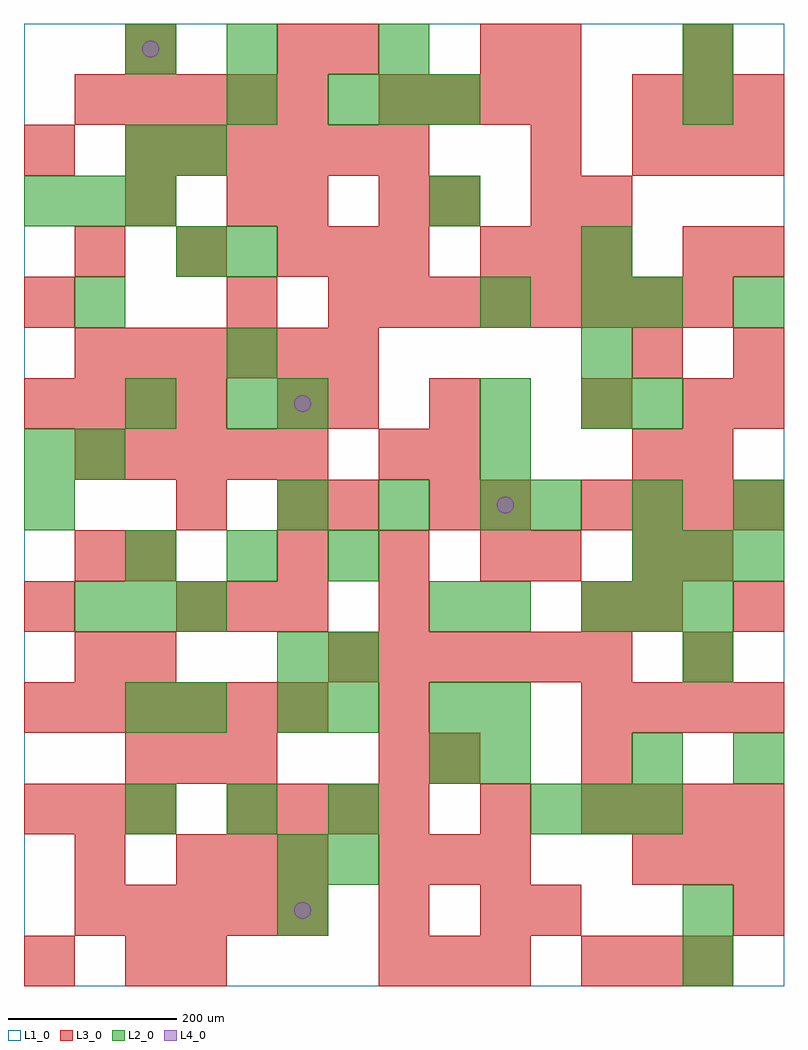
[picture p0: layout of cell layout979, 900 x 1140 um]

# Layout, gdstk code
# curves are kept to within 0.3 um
import gdstk
lib = gdstk.Library(unit=1e-6, precision=1e-09)
def R(c, l, rs):  # rectangles x0, y0, x1, y1
    for r in rs: c.add(gdstk.rectangle(r[:2], r[2:], *l))
def A(c, l, x, y, w, h, nx, ny, dx, dy):  # array of equal rectangles
    R(c, l, [(x+i*dx, y+j*dy, x+i*dx+w, y+j*dy+h) for i in range(nx) for j in range(ny)])
def P(c, l, *ps):  # polygons
    for p in ps: c.add(gdstk.Polygon(p, *l))
L1_0 = (1, 0)
L2_0 = (2, 0)
L3_0 = (3, 0)
L4_0 = (4, 0)

layout979 = lib.new_cell('layout979')
R(layout979, L1_0, [(0,0,900,1140)])
A(layout979, L2_0, 120, 180, 60, 60, 3, 2, 120, 300)
A(layout979, L2_0, 600, 180, 60, 60, 3, 1, 60, 0)
A(layout979, L2_0, 60, 420, 60, 60, 3, 1, 60, 0)
A(layout979, L2_0, 660, 420, 60, 60, 3, 1, 60, 0)
A(layout979, L2_0, 720, 480, 60, 60, 3, 1, 60, 0)
A(layout979, L2_0, 300, 540, 60, 60, 3, 1, 120, 0)
A(layout979, L2_0, 600, 540, 60, 60, 3, 1, 120, 0)
A(layout979, L2_0, 660, 660, 60, 60, 1, 4, 0, 60)
A(layout979, L2_0, 0, 900, 60, 60, 3, 1, 60, 0)
A(layout979, L2_0, 360, 1020, 60, 60, 3, 1, 60, 0)
R(layout979, L2_0, [(780,0,840,60), (300,60,360,120), (780,60,840,120), (300,120,360,180), (360,120,420,180), (480,240,540,300), (540,240,600,300), (720,240,780,300), (840,240,900,300), (120,300,180,360), (180,300,240,360), (300,300,360,360), (360,300,420,360), (480,300,540,360), (540,300,600,360), (300,360,360,420), (360,360,420,420), (780,360,840,420), (480,420,540,480), (540,420,600,480), (0,540,60,600), (0,600,60,660), (60,600,120,660), (540,600,600,660), (120,660,180,720), (240,660,300,720), (300,660,360,720), (540,660,600,720), (720,660,780,720), (240,720,300,780), (60,780,120,840), (540,780,600,840), (720,780,780,840), (840,780,900,840), (180,840,240,900), (240,840,300,900), (480,900,540,960), (120,960,180,1020), (180,960,240,1020), (240,1020,300,1080), (780,1020,840,1080), (120,1080,180,1140), (240,1080,300,1140), (420,1080,480,1140), (780,1080,840,1140)])
A(layout979, L3_0, 420, 0, 60, 60, 3, 2, 60, 120)
A(layout979, L3_0, 660, 0, 60, 60, 3, 1, 60, 0)
A(layout979, L3_0, 60, 60, 60, 60, 5, 2, 60, 540)
A(layout979, L3_0, 600, 60, 60, 60, 1, 3, 0, 420)
A(layout979, L3_0, 180, 120, 60, 60, 3, 2, 60, 300)
A(layout979, L3_0, 720, 120, 60, 60, 3, 2, 60, 840)
A(layout979, L3_0, 0, 180, 60, 60, 3, 1, 60, 0)
A(layout979, L3_0, 240, 180, 60, 60, 4, 1, 60, 0)
A(layout979, L3_0, 660, 180, 60, 60, 4, 2, 60, 120)
A(layout979, L3_0, 120, 240, 60, 60, 3, 1, 60, 0)
A(layout979, L3_0, 0, 300, 60, 60, 6, 1, 60, 0)
A(layout979, L3_0, 360, 360, 60, 60, 6, 1, 60, 0)
A(layout979, L3_0, 780, 360, 60, 60, 1, 3, 0, 120)
A(layout979, L3_0, 660, 420, 60, 60, 1, 3, 0, 240)
A(layout979, L3_0, 300, 480, 60, 60, 3, 1, 120, 0)
A(layout979, L3_0, 720, 480, 60, 60, 1, 3, 0, 120)
A(layout979, L3_0, 480, 540, 60, 60, 1, 3, 0, 60)
A(layout979, L3_0, 660, 540, 60, 60, 4, 1, 60, 0)
A(layout979, L3_0, 0, 660, 60, 60, 4, 1, 60, 0)
A(layout979, L3_0, 60, 720, 60, 60, 6, 1, 60, 0)
A(layout979, L3_0, 360, 780, 60, 60, 8, 1, 60, 0)
A(layout979, L3_0, 60, 840, 60, 60, 3, 1, 120, 0)
A(layout979, L3_0, 540, 840, 60, 60, 3, 1, 60, 0)
A(layout979, L3_0, 120, 960, 60, 60, 6, 1, 60, 0)
A(layout979, L3_0, 60, 1020, 60, 60, 5, 1, 60, 0)
A(layout979, L3_0, 420, 1020, 60, 60, 4, 1, 60, 0)
A(layout979, L3_0, 720, 1020, 60, 60, 3, 1, 60, 0)
R(layout979, L3_0, [(0,0,60,60), (120,0,180,60), (180,0,240,60), (420,60,480,120), (540,60,600,120), (840,60,900,120), (60,120,120,180), (540,180,600,240), (420,240,480,300), (480,240,540,300), (660,240,720,300), (420,300,480,360), (60,360,120,420), (120,360,180,420), (0,420,60,480), (420,420,480,480), (720,420,780,480), (840,420,900,480), (60,480,120,540), (120,480,180,540), (180,540,240,600), (300,540,360,600), (360,540,420,600), (540,540,600,600), (420,600,480,660), (300,660,360,720), (360,660,420,720), (780,660,840,720), (840,660,900,720), (840,720,900,780), (0,780,60,840), (240,780,300,840), (360,840,420,900), (420,840,480,900), (780,840,840,900), (840,840,900,900), (120,900,180,960), (240,900,300,960), (300,900,360,960), (420,900,480,960), (480,900,540,960), (0,960,60,1020), (600,960,660,1020), (120,1080,180,1140), (300,1080,360,1140), (360,1080,420,1140), (540,1080,600,1140), (600,1080,660,1140), (780,1080,840,1140)])
P(layout979, L4_0, [(160,1110),(159.239,1113.827),(157.071,1117.071),(153.827,1119.239),(150,1120),(146.173,1119.239),(142.929,1117.071),(140.761,1113.827),(140,1110),(140.761,1106.173),(142.929,1102.929),(146.173,1100.761),(150,1100),(153.827,1100.761),(157.071,1102.929),(159.239,1106.173)],
  [(340,90),(339.239,93.827),(337.071,97.071),(333.827,99.239),(330,100),(326.173,99.239),(322.929,97.071),(320.761,93.827),(320,90),(320.761,86.173),(322.929,82.929),(326.173,80.761),(330,80),(333.827,80.761),(337.071,82.929),(339.239,86.173)],
  [(340,690),(339.239,693.827),(337.071,697.071),(333.827,699.239),(330,700),(326.173,699.239),(322.929,697.071),(320.761,693.827),(320,690),(320.761,686.173),(322.929,682.929),(326.173,680.761),(330,680),(333.827,680.761),(337.071,682.929),(339.239,686.173)],
  [(580,570),(579.239,573.827),(577.071,577.071),(573.827,579.239),(570,580),(566.173,579.239),(562.929,577.071),(560.761,573.827),(560,570),(560.761,566.173),(562.929,562.929),(566.173,560.761),(570,560),(573.827,560.761),(577.071,562.929),(579.239,566.173)])

lib.write_gds('layout979.gds')
